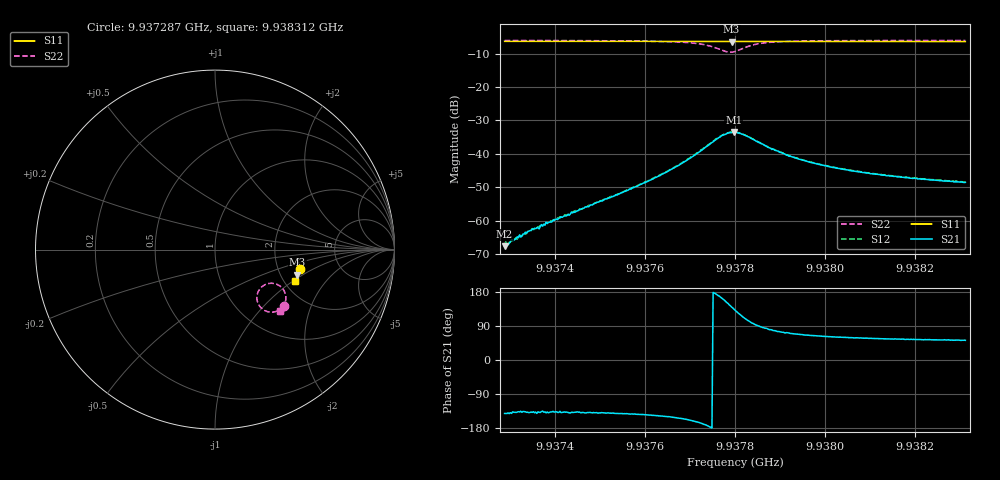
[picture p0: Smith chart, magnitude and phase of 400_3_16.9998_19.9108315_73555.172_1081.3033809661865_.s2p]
#  HZ  S  RI  R  50.00
! Rohde & Schwarz Vector Network Analyzer
! Rohde-Schwarz,ZNB20-2Port,1311601062101988,3.16
! Created: UTC 3/20/2024, 11:10:01 PM
! freq[Hz]  re:S11  im:S11  re:S21  im:S21  re:S12  im:S12  re:S22  im:S22
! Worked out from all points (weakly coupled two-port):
!   401 points, 9.937287 GHz to 9.938312 GHz, reference 50 ohm
!   highest |S21| = -33.48 dB at 9.937797 GHz (marker M1); lowest = -67.6 dB at 9.937287 GHz (marker M2)
!   lowest |S11| = -6.4 dB at 9.937792 GHz (marker M3), VSWR 2.84, Z = 123 - j44.6 ohm
!   |S11| at or under -10 dB: nowhere
!   |S22| runs from -9.6 to -6.1 dB; largest |S21 - S12| = 0.00087
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9.9372875e9  0.4715 -0.1075  -0.000323 -0.000261  -0.00033 -0.000287  0.3849 -0.3159
9.9372977e9  0.4713 -0.1083  -0.000357 -0.000285  -0.000358 -0.000307  0.3843 -0.3166
9.937308e9  0.471 -0.109  -0.000378 -0.000341  -0.000426 -0.000355  0.3835 -0.3174
9.9373489e9  0.4702 -0.1117  -0.000554 -0.000494  -0.000561 -0.000516  0.3802 -0.3202
9.9373617e9  0.47 -0.1127  -0.000572 -0.000536  -0.000598 -0.000546  0.3791 -0.3212
9.9373746e9  0.4698 -0.1134  -0.000655 -0.000596  -0.00065 -0.000592  0.378 -0.3222
9.9374591e9  0.4679 -0.119  -0.00113 -0.000995  -0.00114 -0.000965  0.3695 -0.3291
9.9375667e9  0.4654 -0.1264  -0.00238 -0.0018  -0.00241 -0.00178  0.354 -0.3391
9.9376307e9  0.4639 -0.1306  -0.00395 -0.00251  -0.00404 -0.00253  0.3372 -0.3453
9.9376794e9  0.4625 -0.1339  -0.00634 -0.00308  -0.00651 -0.00304  0.3151 -0.3488
9.9377332e9  0.4606 -0.1373  -0.0123 -0.00204  -0.0125 -0.00179  0.2677 -0.3343
9.937769e9  0.4588 -0.1391  -0.0178 0.00501  -0.0179 0.00541  0.2335 -0.2731
9.9377921e9  0.4582 -0.1395  -0.0159 0.0134  -0.0159 0.014  0.2583 -0.2098
9.9377972e9  0.4584 -0.1396  -0.0148 0.0152  -0.0144 0.0157  0.2714 -0.1995
9.9377997e9  0.4584 -0.1396  -0.014 0.0156  -0.0137 0.0162  0.2785 -0.1956
9.9378228e9  0.4586 -0.1407  -0.00605 0.0177  -0.00557 0.0183  0.3416 -0.1922
9.9378561e9  0.4586 -0.1431  0.000537 0.0145  0.000765 0.0147  0.3853 -0.2305
9.9379176e9  0.4577 -0.1477  0.00294 0.00898  0.0033 0.009  0.3943 -0.2791
9.9379714e9  0.4563 -0.1514  0.00316 0.00666  0.00335 0.00664  0.389 -0.2998
9.9380584e9  0.4541 -0.1572  0.00288 0.0048  0.003 0.00482  0.3802 -0.3179
9.938143e9  0.4519 -0.1627  0.00265 0.00385  0.00274 0.00387  0.3725 -0.3284
9.938312e9  0.4471 -0.1734  0.00231 0.00295  0.00239 0.00294  0.3599 -0.343
